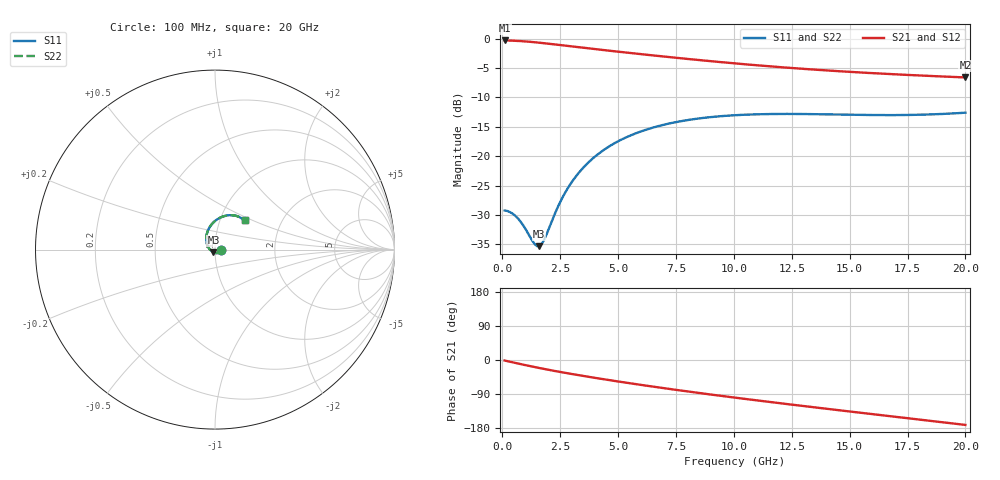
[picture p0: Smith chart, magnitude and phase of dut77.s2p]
! Created with skrf 1.9.0 (http://scikit-rf.org).
# GHz S RI R 50.0
!freq ReS11 ImS11 ReS21 ImS21 ReS12 ImS12 ReS22 ImS22
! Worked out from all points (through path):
!   200 points, 100 MHz to 20 GHz, reference 50 ohm
!   highest |S21| = -0.31 dB at 100 MHz (marker M1); lowest = -6.6 dB at 20 GHz (marker M2)
!   group delay of S21, straight-line fit = 22.7 ps
!   lowest |S11| = -35.3 dB at 1.6 GHz (marker M3), VSWR 1.03, Z = 49.1 - j1.46 ohm
!   |S11| at or under -10 dB: start of sweep to end of sweep
!   |S22| runs from -35.3 to -12.6 dB; largest |S21 - S12| = 2.9e-15
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0.1  0.0344 -0.00308  0.9649 -0.0229  0.9649 -0.0229  0.0344 -0.00308
0.3  0.0328 -0.00792  0.9609 -0.0695  0.9609 -0.0695  0.0328 -0.00792
0.6  0.027 -0.0144  0.9483 -0.1373  0.9483 -0.1373  0.027 -0.0144
0.9  0.0181 -0.0185  0.9285 -0.2015  0.9285 -0.2015  0.0181 -0.0185
1.4  -0.000775 -0.0179  0.883 -0.2982  0.883 -0.2982  -0.000775 -0.0179
1.6  -0.0087 -0.0148  0.8614 -0.333  0.8614 -0.333  -0.0087 -0.0148
1.8  -0.0164 -0.0103  0.8385 -0.3654  0.8385 -0.3654  -0.0164 -0.0103
2.3  -0.0328 0.00647  0.7772 -0.4369  0.7772 -0.4369  -0.0328 0.00647
2.7  -0.0421 0.0239  0.7257 -0.4851  0.7257 -0.4851  -0.0421 0.0239
3.1  -0.0473 0.0434  0.6732 -0.5262  0.6732 -0.5262  -0.0473 0.0434
3.5  -0.0486 0.0636  0.6205 -0.5612  0.6205 -0.5612  -0.0486 0.0636
4.1  -0.044 0.093  0.5416 -0.6035  0.5416 -0.6035  -0.044 0.093
4.9  -0.0282 0.1276  0.4384 -0.6435  0.4384 -0.6435  -0.0282 0.1276
5.8  -0.00215 0.1576  0.3267 -0.6695  0.3267 -0.6695  -0.00215 0.1576
6.8  0.031 0.179  0.21 -0.6785  0.21 -0.6785  0.031 0.179
8.3  0.079 0.1915  0.0529 -0.6611  0.0529 -0.6611  0.079 0.1915
10.1  0.1238 0.1862  -0.1039 -0.6058  -0.1039 -0.6058  0.1238 0.1862
11.7  0.1489 0.1736  -0.2155 -0.5368  -0.2155 -0.5368  0.1489 0.1736
13.4  0.1624 0.1601  -0.3084 -0.4513  -0.3084 -0.4513  0.1624 0.1601
15  0.1665 0.1519  -0.3745 -0.3636  -0.3745 -0.3636  0.1665 0.1519
16.7  0.166 0.15  -0.424 -0.2657  -0.424 -0.2657  0.166 0.15
20  0.1661 0.1656  -0.4625 -0.0705  -0.4625 -0.0705  0.1661 0.1656
